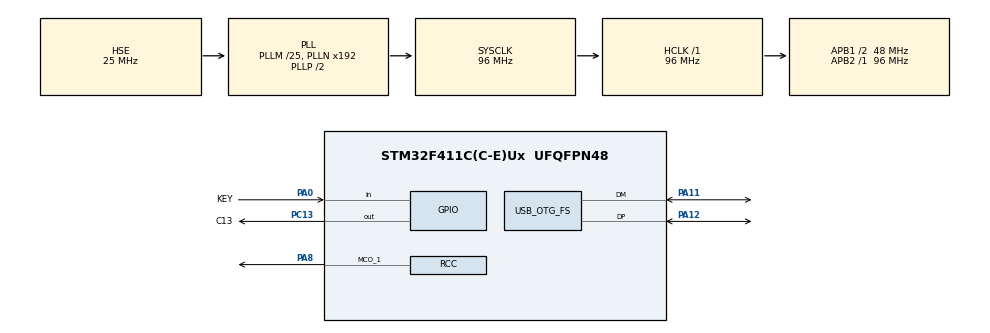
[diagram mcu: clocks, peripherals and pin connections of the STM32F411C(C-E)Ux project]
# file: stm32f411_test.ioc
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Mcu.Family=STM32F4
Mcu.Name=STM32F411C(C-E)Ux
Mcu.Package=UFQFPN48
NVIC.OTG_FS_IRQn=true\:0\:0\:false\:false\:true\:false\:true
NVIC.PriorityGroup=NVIC_PRIORITYGROUP_4
PA0-WKUP.GPIO_Label=KEY
PA0-WKUP.GPIO_PuPd=GPIO_PULLUP
PA0-WKUP.Signal=GPIO_Input
PA11.Mode=Device_Only
PA11.Signal=USB_OTG_FS_DM
PA12.Mode=Device_Only
PA12.Signal=USB_OTG_FS_DP
PA13.Mode=Serial_Wire
PA13.Signal=SYS_JTMS-SWDIO
PA14.Mode=Serial_Wire
PA14.Signal=SYS_JTCK-SWCLK
PA8.Mode=Clock-out-1
PA8.Signal=RCC_MCO_1
PC13-ANTI_TAMP.GPIO_Label=C13
PC13-ANTI_TAMP.PinState=GPIO_PIN_SET
PC13-ANTI_TAMP.Signal=GPIO_Output
PC14-OSC32_IN.Mode=LSE-External-Oscillator
PC14-OSC32_IN.Signal=RCC_OSC32_IN
PC15-OSC32_OUT.Mode=LSE-External-Oscillator
PC15-OSC32_OUT.Signal=RCC_OSC32_OUT
PH0\ -\ OSC_IN.Mode=HSE-External-Oscillator
PH0\ -\ OSC_IN.Signal=RCC_OSC_IN
PH1\ -\ OSC_OUT.Mode=HSE-External-Oscillator
PH1\ -\ OSC_OUT.Signal=RCC_OSC_OUT
ProjectManager.HeapSize=0x800
ProjectManager.StackSize=0x400
ProjectManager.TargetToolchain=MDK-ARM V5
RCC.48MHZClocksFreq_Value=48000000
RCC.AHBFreq_Value=96000000
RCC.APB1CLKDivider=RCC_HCLK_DIV2
RCC.APB1Freq_Value=48000000
RCC.APB1TimFreq_Value=96000000
RCC.APB2Freq_Value=96000000
RCC.APB2TimFreq_Value=96000000
RCC.CortexFreq_Value=96000000
RCC.HCLKFreq_Value=96000000
RCC.HSE_VALUE=25000000
RCC.HSI_VALUE=16000000
RCC.PLLM=25
RCC.RCC_MCO1Source=RCC_MCO1SOURCE_HSE
RCC.RCC_MCODiv1=RCC_MCODIV_5
RCC.RCC_RTC_Clock_Source=RCC_RTCCLKSOURCE_LSE
RCC.RCC_RTC_Clock_SourceVirtual=RCC_RTCCLKSOURCE_LSE
RCC.SYSCLKFreq_VALUE=96000000
RCC.SYSCLKSource=RCC_SYSCLKSOURCE_PLLCLK
RCC.VCOOutputFreq_Value=192000000
RTC.Year=19
USB_DEVICE.CLASS_NAME_FS=CDC
USB_DEVICE.VirtualMode=Cdc
USB_DEVICE.VirtualModeFS=Cdc_FS
USB_OTG_FS.VirtualMode=Device_Only
VP_RTC_VS_RTC_Activate.Mode=RTC_Enabled
VP_RTC_VS_RTC_Calendar.Mode=RTC_Calendar
VP_USB_DEVICE_VS_USB_DEVICE_CDC_FS.Mode=CDC_FS
board=custom

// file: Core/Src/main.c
/* USER CODE BEGIN Header */
/**
  ******************************************************************************
  * @file           : main.c
  * @brief          : Main program body
  ******************************************************************************
  * @attention
  *
  * <h2><center>&copy; Copyright (c) 2019 STMicroelectronics.
  * All rights reserved.</center></h2>
  *
  * This software component is licensed by ST under Ultimate Liberty license
  * SLA0044, the "License"; You may not use this file except in compliance with
  * the License. You may obtain a copy of the License at:
  *                             www.st.com/SLA0044
  *
  ******************************************************************************
  */
/* USER CODE END Header */

#include "main.h"
#include "rtc.h"
#include "usb_device.h"
#include "gpio.h"

/* USER CODE BEGIN Includes */

#include "usbd_cdc_if.h"
#include "key.h"
#include <stdio.h>
/* USER CODE END Includes */

/* USER CODE BEGIN PV */

uint8_t aShow[100] = {0};
uint8_t usbcdcflag = 0;
unsigned short key_value;

/* USER CODE END PV */

void SystemClock_Config(void);
/* USER CODE BEGIN PFP */

static void RTC_CalendarShow(uint8_t *show);

/* USER CODE END PFP */

/* USER CODE BEGIN 0 */
 /*
  *power by WeAct Studio
  *The board with `WeAct` Logo && `version number` is our board, quality guarantee.
  *For more information please visit: https://github.com/WeActTC/MiniF4-STM32F4x1
  *更多信息请访问：https://gitee.com/WeActTC/MiniF4-STM32F4x1
  */
/* USER CODE END 0 */

int main(void)
{
  /* USER CODE BEGIN 1 */

	uint32_t tick,tick1,tick2,tick3;
	uint8_t breathsw = 1;

  /* USER CODE END 1 */

  /* MCU Configuration--------------------------------------------------------*/

  /* Reset of all peripherals, Initializes the Flash interface and the Systick. */
  HAL_Init();

  /* Configure the system clock */
  SystemClock_Config();

  /* Initialize all configured peripherals */
  MX_GPIO_Init();
  MX_RTC_Init();
  MX_USB_DEVICE_Init();

  /* Infinite loop */
  while (1)
  {

    /* USER CODE BEGIN 3 */
	  /* C13 呼吸灯测试 */
	  /* C13 Breathing Lamp test */
		static uint8_t pwmset;
		static uint16_t time;
		static uint8_t timeflag;
		static uint8_t timecount;
	  if((HAL_GetTick() - tick >= 1 ))
	  {
		   tick = HAL_GetTick();

		   if(breathsw == 1)
			{
				 /* 呼吸灯 */
				 /* Breathing Lamp */
				if(timeflag == 0)
				{
					time ++;
					if(time >= 1600) timeflag = 1;
				}
				else
				{
					time --;
					if(time == 0) timeflag = 0;
				}

				/* 占空比设置 */
				/* Duty Cycle Setting */
				pwmset = time/80;

				/* 20ms 脉宽 */
				/* 20ms Pulse Width */
				if(timecount > 20) timecount = 0;
				else timecount ++;

				if(timecount >= pwmset ) HAL_GPIO_WritePin(C13_GPIO_Port,C13_Pin,GPIO_PIN_SET);
				else HAL_GPIO_WritePin(C13_GPIO_Port,C13_Pin,GPIO_PIN_RESET);
			}
		}

	  	/* USB RTC ADC 测试 */
	   /* USB RTC ADC Test */
	  if(HAL_GetTick() - tick1 >= 1000)
	  {
		  tick1 = HAL_GetTick();
		  if(usbcdcflag == 1)
		  {
			  usbcdcflag = 0;
			  CDC_Transmit_FS(aShow,sprintf((char *)aShow, "\r\nSTM32F411CE WeAct CoreBoard\r\n"));
		  }
		  else
			  RTC_CalendarShow(aShow);
	  }

	  /* 1ms 按键扫描 */
	  if(HAL_GetTick() - tick2 >= 1)
	  {
		  tick2 = HAL_GetTick();
		  key_check_all_loop_1ms();
	  }

	  /* Key按键按下查询 */
	  if(HAL_GetTick() - tick3 >= 10)
	  {
		  tick3 = HAL_GetTick();
		  key_value = key_read_value();

		  if(key_value == KEY0_UP_SHORT)
		  {
			 breathsw = 0;
			 HAL_GPIO_WritePin(C13_GPIO_Port,C13_Pin,GPIO_PIN_SET);
			 CDC_Transmit_FS(aShow,sprintf((char *)aShow, "\r\nShort Press 短按\r\n"));
		  }
		  else if(key_value == KEY0_UP_DOUBLE)
		  {
			  breathsw = 0;
			  HAL_GPIO_WritePin(C13_GPIO_Port,C13_Pin,GPIO_PIN_RESET);

			  CDC_Transmit_FS(aShow,sprintf((char *)aShow, "\r\nDouble Press 双击\r\n"));
		  }
		  else if(key_value == KEY0_LONG)
		  {
			  breathsw = 1;
			  CDC_Transmit_FS(aShow,sprintf((char *)aShow, "\r\nLong Press 长按\r\n"));
		  }
	  }
  }
  /* USER CODE END 3 */
}

void SystemClock_Config(void)
{
  RCC_OscInitTypeDef RCC_OscInitStruct = {0};
  RCC_ClkInitTypeDef RCC_ClkInitStruct = {0};
  RCC_PeriphCLKInitTypeDef PeriphClkInitStruct = {0};

  /** Configure the main internal regulator output voltage
  */
  __HAL_RCC_PWR_CLK_ENABLE();
  __HAL_PWR_VOLTAGESCALING_CONFIG(PWR_REGULATOR_VOLTAGE_SCALE1);
  /** Initializes the CPU, AHB and APB busses clocks
  */
  RCC_OscInitStruct.OscillatorType = RCC_OSCILLATORTYPE_HSE|RCC_OSCILLATORTYPE_LSE;
  RCC_OscInitStruct.HSEState = RCC_HSE_ON;
  RCC_OscInitStruct.LSEState = RCC_LSE_ON;
  RCC_OscInitStruct.PLL.PLLState = RCC_PLL_ON;
  RCC_OscInitStruct.PLL.PLLSource = RCC_PLLSOURCE_HSE;
  RCC_OscInitStruct.PLL.PLLM = 25;
  RCC_OscInitStruct.PLL.PLLN = 192;
  RCC_OscInitStruct.PLL.PLLP = RCC_PLLP_DIV2;
  RCC_OscInitStruct.PLL.PLLQ = 4;
  if (HAL_RCC_OscConfig(&RCC_OscInitStruct) != HAL_OK)
  {
    Error_Handler();
  }
  /** Initializes the CPU, AHB and APB busses clocks
  */
  RCC_ClkInitStruct.ClockType = RCC_CLOCKTYPE_HCLK|RCC_CLOCKTYPE_SYSCLK
                              |RCC_CLOCKTYPE_PCLK1|RCC_CLOCKTYPE_PCLK2;
  RCC_ClkInitStruct.SYSCLKSource = RCC_SYSCLKSOURCE_PLLCLK;
  RCC_ClkInitStruct.AHBCLKDivider = RCC_SYSCLK_DIV1;
  RCC_ClkInitStruct.APB1CLKDivider = RCC_HCLK_DIV2;
  RCC_ClkInitStruct.APB2CLKDivider = RCC_HCLK_DIV1;

  if (HAL_RCC_ClockConfig(&RCC_ClkInitStruct, FLASH_LATENCY_3) != HAL_OK)
  {
    Error_Handler();
  }
  PeriphClkInitStruct.PeriphClockSelection = RCC_PERIPHCLK_RTC;
  PeriphClkInitStruct.RTCClockSelection = RCC_RTCCLKSOURCE_LSE;
  if (HAL_RCCEx_PeriphCLKConfig(&PeriphClkInitStruct) != HAL_OK)
  {
    Error_Handler();
  }
  HAL_RCC_MCOConfig(RCC_MCO1, RCC_MCO1SOURCE_HSE, RCC_MCODIV_5);
}

/* USER CODE BEGIN 4 */

/**
  * @brief  Display the current time and date.
  * @param  show : pointer to buffer
  * @retval None
  */
static void RTC_CalendarShow(uint8_t *show)
{
  RTC_DateTypeDef sdatestructureget;
  RTC_TimeTypeDef stimestructureget;
  int32_t size;

  /* 必须同时获取时间和日期 不然会导致下次RTC不能读取 */
  /* Both time and date must be obtained or RTC cannot be read next time */
  /* Get the RTC current Time */
  HAL_RTC_GetTime(&hrtc, &stimestructureget, RTC_FORMAT_BIN);
  /* Get the RTC current Date */
  HAL_RTC_GetDate(&hrtc, &sdatestructureget, RTC_FORMAT_BIN);
  /* Display time Format : hh:mm:ss Display date Format : mm-dd-yy */
  size = sprintf((char *)show, "%02d:%02d:%02d,%02d月%02d日%2d年\r\n", stimestructureget.Hours,
																					stimestructureget.Minutes,
																					stimestructureget.Seconds,
																					sdatestructureget.Month,
																					sdatestructureget.Date,
																					2000 + sdatestructureget.Year);
  CDC_Transmit_FS(show,size);
}

/* USER CODE END 4 */

void Error_Handler(void)
{
}

/************************ (C) COPYRIGHT STMicroelectronics *****END OF FILE****/
